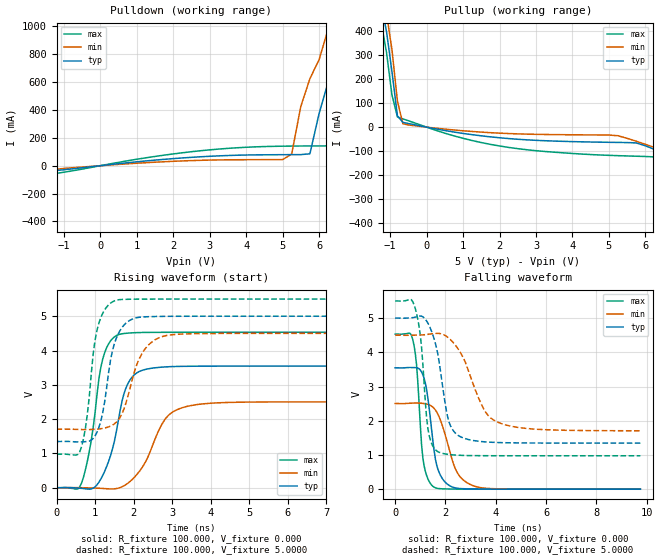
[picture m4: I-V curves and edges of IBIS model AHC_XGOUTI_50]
| [Disclaimer]
| (C) Copyright 2003 Philips Semiconductors
| All rights reserved
| Philips Semiconductors warrants and represents that the IBIS model
| identified herein is owned by Philips Semiconductors (PHILIPS). The
| model provided is not warranted as fully representing all of the
| operating characteristics and specifications of the semiconductor
| products to which the model relates.  Moreover, unless there is a
| signed, written agreement to the contrary, this IBIS model is
| furnished on an "as is" basis without support or warranty of any
| kind, either expressed or implied, regarding the use thereof, and
| PHILIPS specifically disclaims all implied warranties of
| merchantability and fitness of the model for any purpose.
| PHILIPS does not assume any liability arising out of the application
| or use of this IBIS model including infringement of patents and
| copyrights, nor does PHILIPS convey any license under its patents and
| copyrights or the rights of others.
| PHILIPS provides IBIS models as a service to our customers. You and
| your company shall not distribute, convey, sell, or give these models
| to anyone else without receiving prior written permission from
| PHILIPS.
| PHILIPS reserves the right to make changes without notice to these
| IBIS models to improve reliability, function, or design.
| Please be aware that your receipt and subsequent use of the IBIS
| information provided shall serve as acceptance of the terms and
| conditions of this agreement.  If you do not accept these terms,
| you should return or destroy the IBIS models and any other
| accompanying information immediately.
| From ahc1g14.ibs, Philips Semiconductors Inc.
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|   Model AHC_XGOUTI_50
[Model]   AHC_XGOUTI_50
Model_type   Output
Polarity   Inverting
Vmeas =  2.5000V
Cref  = 50.0000pF
Rref  =  1.0000k
Vref  =  0.000V
C_comp   1.14pF   0.64pF   1.60pF
[Model Spec]
| Note: The input and output voltage ratings may be exceeded if the input and
|   output current ratings are observed (please refer to the data sheet)
|   Subparameter   typ   min   max
| Timing Thresholds
Vmeas   2.5   2.25   2.75
|Ambient temperature:   25.0000   85.0000   -40.0000
[Temperature Range]   50.0000   105.0000   -10.0000
[Voltage Range]   5.0000V   4.5000V   5.5000V
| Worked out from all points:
|   slope of the pulldown table from 0 to 0.75 V, typ, clamps not added: 35.1 ohm
|   slope of the pullup table from 0 to 0.75 V, typ, clamps not added: 36.7 ohm
|   rising waveform, R_fixture 100.000, V_fixture 0.000: 20-80 % time 447ps typ, 657ps min, 349ps max; typ from 0 V to 3.54 V
|   rising waveform, R_fixture 100.000, V_fixture 5.0000: 20-80 % time 347ps typ, 496ps min, 283ps max; typ from 1.35 V to 5 V
|   falling waveform, R_fixture 100.000, V_fixture 0.000: 20-80 % time 384ps typ, 649ps min, 252ps max; typ from 3.54 V to 0 V
|   falling waveform, R_fixture 100.000, V_fixture 5.0000: 20-80 % time 502ps typ, 952ps min, 302ps max; typ from 5 V to 1.35 V
|Process Range   nominal   slow   fast
[Pulldown]
| voltage   I(typ)   I(min)   I(max)
-5.5V     -311.1mA   -248.2mA   -433.8mA
-1.6V     -53.15mA   -44.29mA   -72.64mA
2.25V     55.67mA    34.27mA    92.78mA
5V        79.09mA    43.75mA    140mA
5.25V     79.39mA    83.84mA    140.8mA
5.5V      79.58mA    425.1mA    141.4mA
5.75V     85.45mA    624.7mA    141.6mA
6V        372.6mA    759.3mA    141.8mA
6.25V     599.6mA    979.9mA    142mA
6.75V     973.7mA    1.474A     588.6mA
7.25V     1.473A     1.976A     984.9mA
11V       5.114A     5.643A     4.59A
[Pullup]
| voltage   I(typ)   I(min)   I(max)
-6.5V     5.606A     5.639A     5.569A
-1.25V    513.9mA    575.1mA    441.9mA
-1.1V     399.3mA    474.1mA    312.2mA
-950mV    231.1mA    322.7mA    134mA
-800mV    46.62mA    107.8mA    42.35mA
-650mV    19.86mA    14.13mA    34.22mA
2V        -44.37mA   -25.05mA   -78.62mA
5V        -63.29mA   -32.93mA   -117.7mA
5.75V     -65.88mA   -58.8mA    -121.4mA
6.5V      -109.7mA   -98.12mA   -135mA
9.5V      -317.2mA   -259.8mA   -429.2mA
11V       -422.3mA   -341.3mA   -581.2mA
[Ramp]
| variable   typ   min   max
dV/dt_r   2.127V/447.583ps   1.502V/656.799ps   2.719V/349.390ps
dV/dt_f   2.192V/502.018ps   1.676V/952.420ps   2.714V/301.780ps
R_load = 100.000
[Rising Waveform]
R_fixture   = 100.000
V_fixture   = 0.000
V_fixture_min = 0.000
V_fixture_max = 0.000
| time   V(typ)   V(min)   V(max)
0s        175pV      10.33nV    393.5fV
650ps     -19.79mV   -213.3uV   136.7mV
900ps     -36.69mV   -6.841mV   1.377V
1.2ns     360.5mV    -22.09mV   3.756V
1.6ns     1.936V     -14.31mV   4.46V
1.8ns     2.905V     89.7mV     4.501V
2.05ns    3.322V     340.9mV    4.52V
2.8ns     3.52V      1.969V     4.531V
3.3ns     3.539V     2.345V     4.531V
9.75ns    3.545V     2.503V     4.532V
[Rising Waveform]
R_fixture   = 100.000
V_fixture   = 5.0000
V_fixture_min = 4.5000
V_fixture_max = 5.5000
| time   V(typ)   V(min)   V(max)
0s        1.347V     1.705V     976.2mV
650ps     1.335V     1.696V     1.195V
800ps     1.347V     1.694V     2.143V
1ns       1.51V      1.703V     4.304V
1.2ns     2.191V     1.731V     5.089V
1.5ns     4.195V     1.86V      5.446V
1.75ns    4.741V     2.297V     5.49V
2.2ns     4.975V     3.877V     5.498V
2.75ns    4.995V     4.408V     5.5V
9.75ns    5V         4.5V       5.5V
[Falling Waveform]
R_fixture   = 100.000
V_fixture   = 0.000
V_fixture_min = 0.000
V_fixture_max = 0.000
| time   V(typ)   V(min)   V(max)
0s        3.545V     2.503V     4.532V
700ps     3.555V     2.516V     4.379V
850ps     3.55V      2.518V     3.649V
1.1ns     3.35V      2.506V     927.6mV
1.3ns     2.673V     2.48V      307mV
1.55ns    1.126V     2.361V     58.22mV
2ns       197.9mV    1.565V     7.667mV
2.45ns    29.2mV     509.9mV    2.64mV
3.1ns     6.33mV     102.3mV    624.7uV
9.75ns    450.3nV    62.34uV    541.4pV
[Falling Waveform]
R_fixture   = 100.000
V_fixture   = 5.0000
V_fixture_min = 4.5000
V_fixture_max = 5.5000
| time   V(typ)   V(min)   V(max)
0s        5V         4.5V       5.5V
800ps     5.028V     4.502V     5.285V
1.05ns    5.055V     4.508V     4.163V
1.3ns     4.857V     4.524V     1.785V
1.7ns     3.94V      4.553V     1.095V
2.1ns     2.076V     4.435V     1.018V
2.65ns    1.515V     3.923V     988.1mV
3.5ns     1.387V     2.376V     978mV
4.1ns     1.363V     1.952V     976.7mV
9.75ns    1.347V     1.707V     976.2mV
